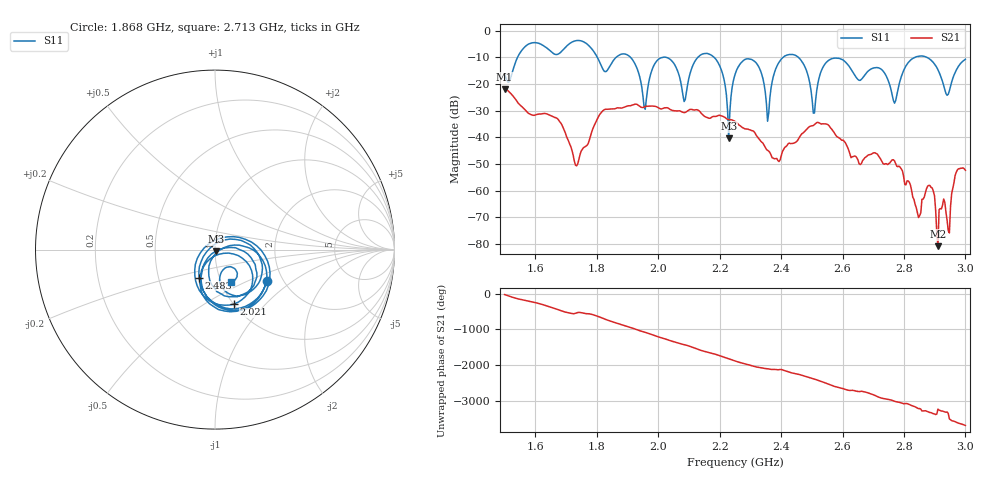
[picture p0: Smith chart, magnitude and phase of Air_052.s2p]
# HZ S RI R 50
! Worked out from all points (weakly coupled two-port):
!   404 points, 1.5 GHz to 3 GHz, reference 50 ohm
!   highest |S21| = -21.92 dB at 1.5 GHz (marker M1); lowest = -80.9 dB at 2.911 GHz (marker M2)
!   lowest |S11| = -40.3 dB at 2.23 GHz (marker M3), VSWR 1.02, Z = 50.4 - j0.867 ohm
!   |S11| at or under -10 dB: 2.182 GHz to 2.406 GHz (223.9 MHz wide, 9.76 % of centre); 2.457 GHz to 2.835 GHz (378.2 MHz wide, 14.3 % of centre); 2.875 GHz to end of sweep (the widest 3 of 7)
!   S12 and S22 are empty: the file has one direction only
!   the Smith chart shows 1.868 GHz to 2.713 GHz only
!   S11 on the Smith chart (normalised r, x): 1.868 GHz: 1.65, -0.65; 2.021 GHz: 1.00, -0.68; 2.483 GHz: 0.80, -0.26; 2.713 GHz: 1.11, -0.42
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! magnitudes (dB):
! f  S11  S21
! 1.5 GHz  -16.3  -21.9
! 1.753 GHz  -3.9  -44.5
! 1.868 GHz  -9.5  -28.9
! 1.958 GHz  -29.5  -28.4
! 2.002 GHz  -10.6  -29.0
! 2.021 GHz  -9.9  -28.9
! 2.084 GHz  -26.6  -30.7
! 2.177 GHz  -9.5  -32.2
! 2.23 GHz  -40.3  -33.3
! 2.252 GHz  -15.8  -34.2
! 2.315 GHz  -11.6  -38.4
! 2.356 GHz  -34.0  -44.9
! 2.39 GHz  -12.5  -48.7
! 2.483 GHz  -14.9  -37.0
! 2.501 GHz  -26.1  -35.7
! 2.561 GHz  -10.7  -36.4
! 2.713 GHz  -13.8  -46.3
! 2.751 GHz  -19.3  -49.9
! 2.888 GHz  -11.0  -58.8
! 2.911 GHz  -14.6  -80.9
! 2.94 GHz  -24.2  -71.1
! 3 GHz  -10.7  -52.4
